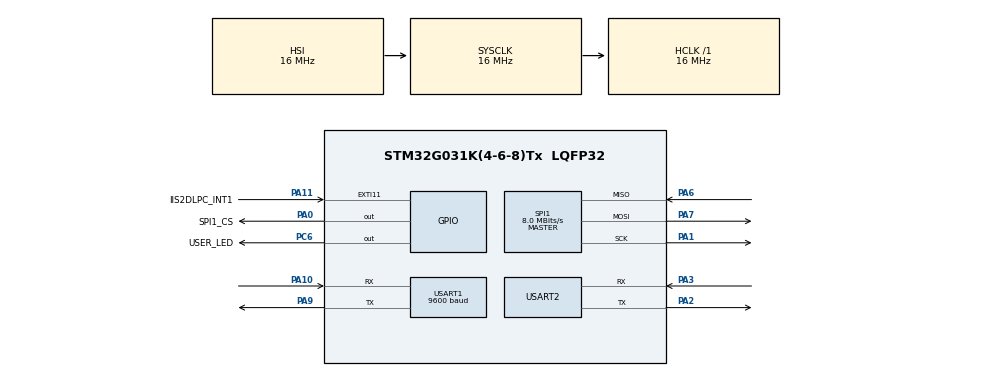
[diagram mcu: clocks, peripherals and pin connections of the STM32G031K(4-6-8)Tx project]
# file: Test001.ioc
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Mcu.Family=STM32G0
Mcu.Name=STM32G031K(4-6-8)Tx
Mcu.Package=LQFP32
PA0.GPIO_Label=SPI1_CS
PA0.Signal=GPIO_Output
PA1.Mode=Full_Duplex_Master
PA1.Signal=SPI1_SCK
PA10.Mode=Asynchronous
PA10.Signal=USART1_RX
PA11\ [PA9].GPIO_Label=IIS2DLPC_INT1
PA11\ [PA9].Signal=GPXTI11
PA13.Mode=Serial_Wire
PA13.Signal=SYS_SWDIO
PA14-BOOT0.Mode=Serial_Wire
PA14-BOOT0.Signal=SYS_SWCLK
PA2.Mode=Asynchronous
PA2.Signal=USART2_TX
PA3.Mode=Asynchronous
PA3.Signal=USART2_RX
PA6.Mode=Full_Duplex_Master
PA6.Signal=SPI1_MISO
PA7.Mode=Full_Duplex_Master
PA7.Signal=SPI1_MOSI
PA9.Mode=Asynchronous
PA9.Signal=USART1_TX
PC6.GPIO_Label=USER_LED
PC6.Signal=GPIO_Output
ProjectManager.HeapSize=0x200
ProjectManager.StackSize=0x400
ProjectManager.TargetToolchain=STM32CubeIDE
RCC.AHBFreq_Value=16000000
RCC.CortexFreq_Value=16000000
RCC.EXTERNAL_CLOCK_VALUE=12288000
RCC.HCLKFreq_Value=16000000
RCC.HSE_VALUE=8000000
RCC.HSI_VALUE=16000000
RCC.LSE_VALUE=32768
RCC.SYSCLKFreq_VALUE=16000000
RCC.VCOOutputFreq_Value=128000000
SPI1.CalculateBaudRate=8.0 MBits/s
SPI1.Direction=SPI_DIRECTION_2LINES
SPI1.Mode=SPI_MODE_MASTER
SPI1.VirtualType=VM_MASTER
USART1.BaudRate=9600
USART1.Parity=PARITY_NONE
USART1.VirtualMode-Asynchronous=VM_ASYNC
USART1.WordLength=WORDLENGTH_8B
USART2.VirtualMode-Asynchronous=VM_ASYNC
board=custom

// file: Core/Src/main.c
/* USER CODE BEGIN Header */
/**
 * Płytka NUCLEO-G031K8 (STM32G031K8T6U) z STEVAL-MKI191V1 (IIS2DLPC)
 *
 *
  ******************************************************************************
  * @file           : main.c
  * @brief          : Main program body
  ******************************************************************************
  * @attention
  *
  * <h2><center>&copy; Copyright (c) 2021 STMicroelectronics.
  * All rights reserved.</center></h2>
  *
  * This software component is licensed by ST under BSD 3-Clause license,
  * the "License"; You may not use this file except in compliance with the
  * License. You may obtain a copy of the License at:
  *                        opensource.org/licenses/BSD-3-Clause
  *
  ******************************************************************************
  */
/* USER CODE END Header */
#include "main.h"

/* USER CODE BEGIN Includes */
#include <stdio.h>
#include <string.h>
#include <iis2dlpc_reg.h>
/* USER CODE END Includes */

/* USER CODE BEGIN PD */
#define iis2dlpc_comm hspi1
/* USER CODE END PD */

SPI_HandleTypeDef hspi1;

UART_HandleTypeDef huart1;
UART_HandleTypeDef huart2;

/* USER CODE BEGIN PV */
/* UARTA test part */
uint8_t uart_rx_buffer[10] = { 65 , 66 , 67 , 68 , 69 , 70 , 71 , 72 , 73 , 0 };
uint8_t template[2] = { 75 , 79 };
HAL_StatusTypeDef r;
/* IIS2DLPC test part */
static uint8_t whoami = 0;
static uint8_t whoami_reg[1] = { 0x0F };
static uint8_t whoami_data[1] = { 0x00 };
/* USER CODE END PV */

void SystemClock_Config(void);
static void MX_GPIO_Init(void);
static void MX_SPI1_Init(void);
static void MX_USART1_UART_Init(void);
static void MX_USART2_UART_Init(void);
/* USER CODE BEGIN PFP */
static int32_t platform_write ( void *handle , uint8_t reg , const uint8_t *bufp , uint16_t len );
static int32_t platform_read  ( void *handle , uint8_t reg , uint8_t *bufp , uint16_t len );
/* USER CODE END PFP */

int main(void)
{
  /* USER CODE BEGIN 1 */
	stmdev_ctx_t dev_ctx;
	dev_ctx.write_reg = platform_write;
	dev_ctx.read_reg = platform_read;
	dev_ctx.handle = &iis2dlpc_comm;

  /* USER CODE END 1 */

  /* MCU Configuration--------------------------------------------------------*/

  /* Reset of all peripherals, Initializes the Flash interface and the Systick. */
  HAL_Init();

  /* Configure the system clock */
  SystemClock_Config();

  /* Initialize all configured peripherals */
  MX_GPIO_Init();
  MX_SPI1_Init();
  MX_USART1_UART_Init();
  MX_USART2_UART_Init();

  /* Infinite loop */
  /* USER CODE BEGIN WHILE */
  while (1)
  {
	  iis2dlpc_device_id_get ( &dev_ctx , &whoami );
	  if ( whoami != IIS2DLPC_ID)
		  HAL_UART_Transmit ( &huart2, &whoami , 1 , 1000 );

	  r = HAL_UART_Receive (&huart2, uart_rx_buffer , sizeof ( uart_rx_buffer ) , 1000 );
	  for ( uint8_t i = 0 ; i < sizeof ( uart_rx_buffer ) ; i++)
	  {
		  if ( strncmp ( (const char*)template , (const char*)&uart_rx_buffer[i] , 2 ) == 0 )
			  r = HAL_UART_Transmit ( &huart2, uart_rx_buffer , (uint16_t)strlen ( (const char*)uart_rx_buffer ) , 1000 );
	  }

	  HAL_GPIO_WritePin	( SPI1_CS_GPIO_Port , SPI1_CS_Pin , GPIO_PIN_RESET );
	  HAL_Delay ( 50 );
	  if ( HAL_SPI_TransmitReceive ( &iis2dlpc_comm , whoami_reg , whoami_data , 1 , 1000 ) != HAL_OK )
		  Error_Handler ();
	  HAL_Delay ( 50 );
	  HAL_GPIO_WritePin	( SPI1_CS_GPIO_Port , SPI1_CS_Pin , GPIO_PIN_SET );
	  HAL_Delay ( 50 );
    /* USER CODE END WHILE */

  }
}

void SystemClock_Config(void)
{
  RCC_OscInitTypeDef RCC_OscInitStruct = {0};
  RCC_ClkInitTypeDef RCC_ClkInitStruct = {0};
  RCC_PeriphCLKInitTypeDef PeriphClkInit = {0};

  /** Configure the main internal regulator output voltage
  */
  HAL_PWREx_ControlVoltageScaling(PWR_REGULATOR_VOLTAGE_SCALE1);
  /** Initializes the RCC Oscillators according to the specified parameters
  * in the RCC_OscInitTypeDef structure.
  */
  RCC_OscInitStruct.OscillatorType = RCC_OSCILLATORTYPE_HSI;
  RCC_OscInitStruct.HSIState = RCC_HSI_ON;
  RCC_OscInitStruct.HSIDiv = RCC_HSI_DIV1;
  RCC_OscInitStruct.HSICalibrationValue = RCC_HSICALIBRATION_DEFAULT;
  RCC_OscInitStruct.PLL.PLLState = RCC_PLL_NONE;
  if (HAL_RCC_OscConfig(&RCC_OscInitStruct) != HAL_OK)
  {
    Error_Handler();
  }
  /** Initializes the CPU, AHB and APB buses clocks
  */
  RCC_ClkInitStruct.ClockType = RCC_CLOCKTYPE_HCLK|RCC_CLOCKTYPE_SYSCLK
                              |RCC_CLOCKTYPE_PCLK1;
  RCC_ClkInitStruct.SYSCLKSource = RCC_SYSCLKSOURCE_HSI;
  RCC_ClkInitStruct.AHBCLKDivider = RCC_SYSCLK_DIV1;
  RCC_ClkInitStruct.APB1CLKDivider = RCC_HCLK_DIV1;

  if (HAL_RCC_ClockConfig(&RCC_ClkInitStruct, FLASH_LATENCY_0) != HAL_OK)
  {
    Error_Handler();
  }
  /** Initializes the peripherals clocks
  */
  PeriphClkInit.PeriphClockSelection = RCC_PERIPHCLK_USART1;
  PeriphClkInit.Usart1ClockSelection = RCC_USART1CLKSOURCE_PCLK1;
  if (HAL_RCCEx_PeriphCLKConfig(&PeriphClkInit) != HAL_OK)
  {
    Error_Handler();
  }
}

static void MX_SPI1_Init(void)
{

  /* SPI1 parameter configuration*/
  hspi1.Instance = SPI1;
  hspi1.Init.Mode = SPI_MODE_MASTER;
  hspi1.Init.Direction = SPI_DIRECTION_2LINES;
  hspi1.Init.DataSize = SPI_DATASIZE_8BIT;
  hspi1.Init.CLKPolarity = SPI_POLARITY_LOW;
  hspi1.Init.CLKPhase = SPI_PHASE_1EDGE;
  hspi1.Init.NSS = SPI_NSS_SOFT;
  hspi1.Init.BaudRatePrescaler = SPI_BAUDRATEPRESCALER_2;
  hspi1.Init.FirstBit = SPI_FIRSTBIT_MSB;
  hspi1.Init.TIMode = SPI_TIMODE_DISABLE;
  hspi1.Init.CRCCalculation = SPI_CRCCALCULATION_DISABLE;
  hspi1.Init.CRCPolynomial = 7;
  hspi1.Init.CRCLength = SPI_CRC_LENGTH_DATASIZE;
  hspi1.Init.NSSPMode = SPI_NSS_PULSE_ENABLE;
  if (HAL_SPI_Init(&hspi1) != HAL_OK)
  {
    Error_Handler();
  }

}

static void MX_USART1_UART_Init(void)
{

  huart1.Instance = USART1;
  huart1.Init.BaudRate = 9600;
  huart1.Init.WordLength = UART_WORDLENGTH_8B;
  huart1.Init.StopBits = UART_STOPBITS_1;
  huart1.Init.Parity = UART_PARITY_NONE;
  huart1.Init.Mode = UART_MODE_TX_RX;
  huart1.Init.HwFlowCtl = UART_HWCONTROL_NONE;
  huart1.Init.OverSampling = UART_OVERSAMPLING_16;
  huart1.Init.OneBitSampling = UART_ONE_BIT_SAMPLE_DISABLE;
  huart1.Init.ClockPrescaler = UART_PRESCALER_DIV1;
  huart1.AdvancedInit.AdvFeatureInit = UART_ADVFEATURE_NO_INIT;
  if (HAL_UART_Init(&huart1) != HAL_OK)
  {
    Error_Handler();
  }
  if (HAL_UARTEx_SetTxFifoThreshold(&huart1, UART_TXFIFO_THRESHOLD_1_8) != HAL_OK)
  {
    Error_Handler();
  }
  if (HAL_UARTEx_SetRxFifoThreshold(&huart1, UART_RXFIFO_THRESHOLD_1_8) != HAL_OK)
  {
    Error_Handler();
  }
  if (HAL_UARTEx_DisableFifoMode(&huart1) != HAL_OK)
  {
    Error_Handler();
  }

}

static void MX_USART2_UART_Init(void)
{

  huart2.Instance = USART2;
  huart2.Init.BaudRate = 115200;
  huart2.Init.WordLength = UART_WORDLENGTH_8B;
  huart2.Init.StopBits = UART_STOPBITS_1;
  huart2.Init.Parity = UART_PARITY_NONE;
  huart2.Init.Mode = UART_MODE_TX_RX;
  huart2.Init.HwFlowCtl = UART_HWCONTROL_NONE;
  huart2.Init.OverSampling = UART_OVERSAMPLING_16;
  huart2.Init.OneBitSampling = UART_ONE_BIT_SAMPLE_DISABLE;
  huart2.Init.ClockPrescaler = UART_PRESCALER_DIV1;
  huart2.AdvancedInit.AdvFeatureInit = UART_ADVFEATURE_NO_INIT;
  if (HAL_UART_Init(&huart2) != HAL_OK)
  {
    Error_Handler();
  }

}

static void MX_GPIO_Init(void)
{
  GPIO_InitTypeDef GPIO_InitStruct = {0};

  /* GPIO Ports Clock Enable */
  __HAL_RCC_GPIOA_CLK_ENABLE();
  __HAL_RCC_GPIOC_CLK_ENABLE();

  /*Configure GPIO pin Output Level */
  HAL_GPIO_WritePin(SPI1_CS_GPIO_Port, SPI1_CS_Pin, GPIO_PIN_RESET);

  /*Configure GPIO pin Output Level */
  HAL_GPIO_WritePin(USER_LED_GPIO_Port, USER_LED_Pin, GPIO_PIN_RESET);

  /*Configure GPIO pin : SPI1_CS_Pin */
  GPIO_InitStruct.Pin = SPI1_CS_Pin;
  GPIO_InitStruct.Mode = GPIO_MODE_OUTPUT_PP;
  GPIO_InitStruct.Pull = GPIO_NOPULL;
  GPIO_InitStruct.Speed = GPIO_SPEED_FREQ_LOW;
  HAL_GPIO_Init(SPI1_CS_GPIO_Port, &GPIO_InitStruct);

  /*Configure GPIO pin : USER_LED_Pin */
  GPIO_InitStruct.Pin = USER_LED_Pin;
  GPIO_InitStruct.Mode = GPIO_MODE_OUTPUT_PP;
  GPIO_InitStruct.Pull = GPIO_NOPULL;
  GPIO_InitStruct.Speed = GPIO_SPEED_FREQ_LOW;
  HAL_GPIO_Init(USER_LED_GPIO_Port, &GPIO_InitStruct);

  /*Configure GPIO pin : IIS2DLPC_INT1_Pin */
  GPIO_InitStruct.Pin = IIS2DLPC_INT1_Pin;
  GPIO_InitStruct.Mode = GPIO_MODE_IT_RISING;
  GPIO_InitStruct.Pull = GPIO_NOPULL;
  HAL_GPIO_Init(IIS2DLPC_INT1_GPIO_Port, &GPIO_InitStruct);

}

/* USER CODE BEGIN 4 */
static int32_t platform_write ( void *handle , uint8_t reg , const uint8_t *bufp , uint16_t len )
{
	HAL_GPIO_WritePin	( SPI1_CS_GPIO_Port , SPI1_CS_Pin , GPIO_PIN_RESET);
	HAL_SPI_Transmit	( handle , &reg , 1 , 1000 );
	HAL_SPI_Transmit	( handle , (uint8_t*) bufp , len , 1000 );
	HAL_GPIO_WritePin	( SPI1_CS_GPIO_Port , SPI1_CS_Pin , GPIO_PIN_SET);
	return 0;
}
static int32_t platform_read ( void *handle , uint8_t reg , uint8_t *bufp , uint16_t len )
{
	reg |= 0x80;
	HAL_GPIO_WritePin	( SPI1_CS_GPIO_Port , SPI1_CS_Pin , GPIO_PIN_RESET );
	HAL_SPI_Transmit	( handle , &reg , 1 , 1000 );
	HAL_SPI_Receive		( handle , bufp , len, 1000 );
	HAL_GPIO_WritePin	( SPI1_CS_GPIO_Port , SPI1_CS_Pin , GPIO_PIN_SET );
	return 0;
}
/* USER CODE END 4 */

void Error_Handler(void)
{
  __disable_irq();
  while (1)
  {
  }
}

/************************ (C) COPYRIGHT STMicroelectronics *****END OF FILE****/
